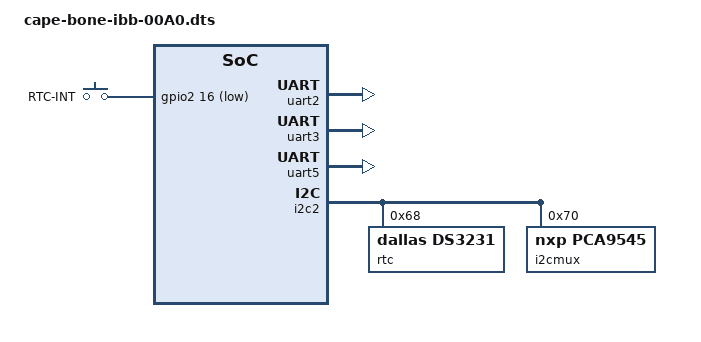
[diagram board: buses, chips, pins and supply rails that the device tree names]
/dts-v1/;
/plugin/;

/ {
	compatible = "ti,beaglebone", "ti,beaglebone-black", "ti,beaglebone-green";
	part-number = "cape-bone-ibb";
	version = "00A0";
	exclusive-use = "P9.24", "P9.26", "uart1",
                  "P9.21", "P9.22", "uart2",
                  "P9.13", "P9.11", "uart4",
                  "P9.15";

	fragment@0 {
		target = <&am33xx_pinmux>;
		__overlay__ {
			bb_uart1_pins: pinmux_bb_uart1_pins {
				pinctrl-single,pins = <0x180 0x20 0x184 0x00>;
			};
			bb_uart2_pins: pinmux_bb_uart2_pins {
				pinctrl-single,pins = <0x150 0x21 0x154 0x01>;
			};
			bb_uart4_pins: pinmux_bb_uart4_pins {
				pinctrl-single,pins = <0x70 0x26 0x74 0x06>;
			};
			rtc_int_pin: pinmux_rtc_int_pin {
				pinctrl-single,pins = <0x40 0x37>; /* GPIO1_16 gpmc_a0 */
			};
		};
	};

	fragment@1 {
		target = <&uart2>;	/* really uart1 */
		__overlay__ {
			status = "okay";
			pinctrl-names = "default";
			pinctrl-0 = <&bb_uart1_pins>;
		};
	};

	fragment@2 {
		target = <&uart3>;	/* really uart2 */
		__overlay__ {
			status = "okay";
			pinctrl-names = "default";
			pinctrl-0 = <&bb_uart2_pins>;
		};
	};

	fragment@3 {
		target = <&uart5>;	/* really uart4 */
		__overlay__ {
			status = "okay";
			pinctrl-names = "default";
			pinctrl-0 = <&bb_uart4_pins>;
		};
	};

	fragment@4 {
		target = <&i2c2>;
		__overlay__ {
			/* shut up DTC warnings */
			#address-cells = <1>;
			#size-cells = <0>;

			/* DS1307 RTC module */
			rtc@68 {
				compatible = "dallas,ds3231";
				reg = <0x68>;
			};

			/* PCA9546 I2C multiplexer */
			i2cmux@70 {
				#address-cells = <1>;
				#size-cells = <0>;
				compatible = "nxp,pca9545";
				reg = <0x70>;

				i2c@0 {
					#address-cells = <1>;
					#size-cells = <0>;
					compatible = "nxp,pca954x-bus";
					reg = <0>;
					deselect_on_exit;
				};
				i2c@1 {
					#address-cells = <1>;
					#size-cells = <0>;
					compatible = "nxp,pca954x-bus";
					reg = <1>;
					deselect_on_exit;
				};
				i2c@2 {
					#address-cells = <1>;
					#size-cells = <0>;
					compatible = "nxp,pca954x-bus";
					reg = <2>;
					deselect_on_exit;
				};
				i2c@3 {
					#address-cells = <1>;
					#size-cells = <0>;
					compatible = "nxp,pca954x-bus";
					reg = <3>;
					deselect_on_exit;
				};
			};
		};
	};

	fragment@5 {
		target = <&ocp>;
		__overlay__ {
			gpio_keys {
				compatible = "gpio-keys";
				pinctrl-names = "default";
				pinctrl-0 = <&rtc_int_pin>;
				int_x1 {
					label = "RTC-INT";
					debounce_interval = <50>;
					linux,code = <1>;
					gpios = <&gpio2 16 0x5>;
					gpio-key,wakeup;
				};
			};
		};
	};

};
